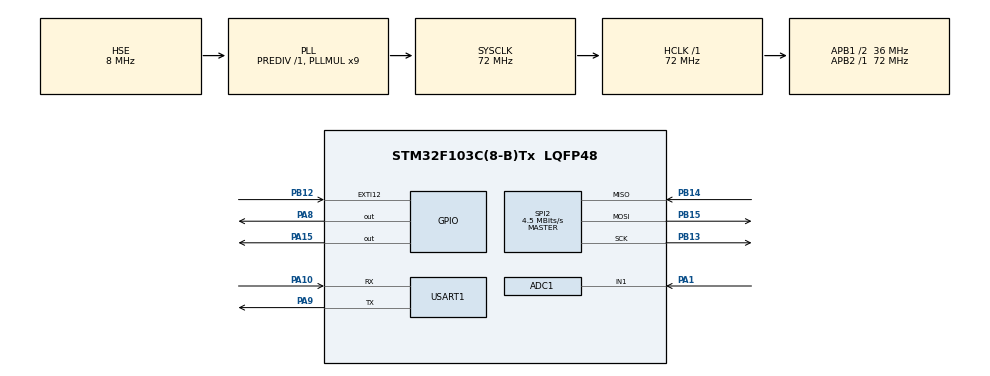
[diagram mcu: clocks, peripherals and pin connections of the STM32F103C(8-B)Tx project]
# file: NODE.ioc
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ADC1.Channel-0\#ChannelRegularConversion=ADC_CHANNEL_1
ADC1.NbrOfConversionFlag=1
ADC1.Rank-0\#ChannelRegularConversion=1
ADC1.SamplingTime-0\#ChannelRegularConversion=ADC_SAMPLETIME_1CYCLE_5
ADC1.master=1
FREERTOS.Tasks01=defaultTask,0,128,StartDefaultTask,Default,NULL,Dynamic,NULL,NULL
FREERTOS.configUSE_TIMERS=1
Mcu.Family=STM32F1
Mcu.Name=STM32F103C(8-B)Tx
Mcu.Package=LQFP48
NVIC.EXTI15_10_IRQn=true\:5\:0\:false\:false\:true\:true\:true\:true
NVIC.PriorityGroup=NVIC_PRIORITYGROUP_4
NVIC.TIM1_UP_IRQn=true\:15\:0\:false\:false\:true\:false\:false\:true
NVIC.TimeBase=TIM1_UP_IRQn
NVIC.TimeBaseIP=TIM1
PA1.Signal=ADCx_IN1
PA10.Mode=Asynchronous
PA10.Signal=USART1_RX
PA13.Mode=Serial_Wire
PA13.Signal=SYS_JTMS-SWDIO
PA14.Mode=Serial_Wire
PA14.Signal=SYS_JTCK-SWCLK
PA15.PinState=GPIO_PIN_SET
PA15.Signal=GPIO_Output
PA8.Signal=GPIO_Output
PA9.Mode=Asynchronous
PA9.Signal=USART1_TX
PB12.GPIO_ModeDefaultEXTI=GPIO_MODE_IT_RISING
PB12.GPIO_PuPd=GPIO_NOPULL
PB12.Signal=GPXTI12
PB13.Mode=Full_Duplex_Master
PB13.Signal=SPI2_SCK
PB14.Mode=Full_Duplex_Master
PB14.Signal=SPI2_MISO
PB15.Mode=Full_Duplex_Master
PB15.Signal=SPI2_MOSI
PD0-OSC_IN.Mode=HSE-External-Oscillator
PD0-OSC_IN.Signal=RCC_OSC_IN
PD1-OSC_OUT.Mode=HSE-External-Oscillator
PD1-OSC_OUT.Signal=RCC_OSC_OUT
ProjectManager.HeapSize=0x200
ProjectManager.StackSize=0x400
ProjectManager.TargetToolchain=STM32CubeIDE
RCC.ADCPresc=RCC_ADCPCLK2_DIV6
RCC.AHBFreq_Value=72000000
RCC.APB1CLKDivider=RCC_HCLK_DIV2
RCC.APB1Freq_Value=36000000
RCC.APB1TimFreq_Value=72000000
RCC.APB2Freq_Value=72000000
RCC.APB2TimFreq_Value=72000000
RCC.HCLKFreq_Value=72000000
RCC.PLLMUL=RCC_PLL_MUL9
RCC.PLLSourceVirtual=RCC_PLLSOURCE_HSE
RCC.SYSCLKFreq_VALUE=72000000
RCC.SYSCLKSource=RCC_SYSCLKSOURCE_PLLCLK
RCC.USBFreq_Value=72000000
SH.ADCx_IN1.0=ADC1_IN1,IN1
SPI2.BaudRatePrescaler=SPI_BAUDRATEPRESCALER_8
SPI2.CalculateBaudRate=4.5 MBits/s
SPI2.Direction=SPI_DIRECTION_2LINES
SPI2.Mode=SPI_MODE_MASTER
SPI2.VirtualType=VM_MASTER
USART1.VirtualMode=VM_ASYNC
VP_FREERTOS_VS_CMSIS_V1.Mode=CMSIS_V1
VP_SYS_VS_tim1.Mode=TIM1
board=custom

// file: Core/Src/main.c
/* USER CODE BEGIN Header */
/**
  ******************************************************************************
  * @file           : main.c
  * @brief          : Main program body
  ******************************************************************************
  * @attention
  *
  * <h2><center>&copy; Copyright (c) 2023 STMicroelectronics.
  * All rights reserved.</center></h2>
  *
  * This software component is licensed by ST under Ultimate Liberty license
  * SLA0044, the "License"; You may not use this file except in compliance with
  * the License. You may obtain a copy of the License at:
  *                             www.st.com/SLA0044
  *
  ******************************************************************************
  */
/* USER CODE END Header */
#include "main.h"
#include "cmsis_os.h"
#include "adc.h"
#include "spi.h"
#include "usart.h"
#include "gpio.h"

/* USER CODE BEGIN Includes */
#include <stdio.h>
#include <stdint.h>
#include <string.h>
#include <stdlib.h>
#include <math.h>
#include <stdbool.h>
#include <time.h>
#include "sx1278.h"
#include "common.h"
/* USER CODE END Includes */

void SystemClock_Config(void);
void MX_FREERTOS_Init(void);

/* USER CODE BEGIN 0 */
static const char *TAG = "MAIN";
sx1278_node_t sx1278_node;
/* USER CODE END 0 */

int main(void)
{

  /* MCU Configuration--------------------------------------------------------*/

  /* Reset of all peripherals, Initializes the Flash interface and the Systick. */
  HAL_Init();

  /* Configure the system clock */
  SystemClock_Config();

  /* Initialize all configured peripherals */
  MX_GPIO_Init();
  MX_ADC1_Init();
  MX_SPI2_Init();
  MX_USART1_UART_Init();
  /* USER CODE BEGIN 2 */
//  sx1278_node.node_id = get_random_value(1, 99);
  sx1278_node.node_id = 6;
  char data_log[20];
  sprintf(data_log, "node_id: %d", sx1278_node.node_id);
  LOG(TAG, data_log);
  /* USER CODE END 2 */

  /* Call init function for freertos objects (in freertos.c) */
  MX_FREERTOS_Init();
  /* Start scheduler */
  osKernelStart();

  /* We should never get here as control is now taken by the scheduler */
  /* Infinite loop */
  while (1)
  {

  }
}

void SystemClock_Config(void)
{
  RCC_OscInitTypeDef RCC_OscInitStruct = {0};
  RCC_ClkInitTypeDef RCC_ClkInitStruct = {0};
  RCC_PeriphCLKInitTypeDef PeriphClkInit = {0};

  /** Initializes the RCC Oscillators according to the specified parameters
  * in the RCC_OscInitTypeDef structure.
  */
  RCC_OscInitStruct.OscillatorType = RCC_OSCILLATORTYPE_HSE;
  RCC_OscInitStruct.HSEState = RCC_HSE_ON;
  RCC_OscInitStruct.HSEPredivValue = RCC_HSE_PREDIV_DIV1;
  RCC_OscInitStruct.HSIState = RCC_HSI_ON;
  RCC_OscInitStruct.PLL.PLLState = RCC_PLL_ON;
  RCC_OscInitStruct.PLL.PLLSource = RCC_PLLSOURCE_HSE;
  RCC_OscInitStruct.PLL.PLLMUL = RCC_PLL_MUL9;
  if (HAL_RCC_OscConfig(&RCC_OscInitStruct) != HAL_OK)
  {
    Error_Handler();
  }
  /** Initializes the CPU, AHB and APB buses clocks
  */
  RCC_ClkInitStruct.ClockType = RCC_CLOCKTYPE_HCLK|RCC_CLOCKTYPE_SYSCLK
                              |RCC_CLOCKTYPE_PCLK1|RCC_CLOCKTYPE_PCLK2;
  RCC_ClkInitStruct.SYSCLKSource = RCC_SYSCLKSOURCE_PLLCLK;
  RCC_ClkInitStruct.AHBCLKDivider = RCC_SYSCLK_DIV1;
  RCC_ClkInitStruct.APB1CLKDivider = RCC_HCLK_DIV2;
  RCC_ClkInitStruct.APB2CLKDivider = RCC_HCLK_DIV1;

  if (HAL_RCC_ClockConfig(&RCC_ClkInitStruct, FLASH_LATENCY_2) != HAL_OK)
  {
    Error_Handler();
  }
  PeriphClkInit.PeriphClockSelection = RCC_PERIPHCLK_ADC;
  PeriphClkInit.AdcClockSelection = RCC_ADCPCLK2_DIV6;
  if (HAL_RCCEx_PeriphCLKConfig(&PeriphClkInit) != HAL_OK)
  {
    Error_Handler();
  }
}

void HAL_TIM_PeriodElapsedCallback(TIM_HandleTypeDef *htim)
{
  if (htim->Instance == TIM1) {
    HAL_IncTick();
  }
}

void Error_Handler(void)
{
  __disable_irq();
  while (1)
  {
  }
}

/************************ (C) COPYRIGHT STMicroelectronics *****END OF FILE****/

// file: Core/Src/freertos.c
/* USER CODE BEGIN Header */
/**
  ******************************************************************************
  * File Name          : freertos.c
  * Description        : Code for freertos applications
  ******************************************************************************
  * @attention
  *
  * <h2><center>&copy; Copyright (c) 2023 STMicroelectronics.
  * All rights reserved.</center></h2>
  *
  * This software component is licensed by ST under Ultimate Liberty license
  * SLA0044, the "License"; You may not use this file except in compliance with
  * the License. You may obtain a copy of the License at:
  *                             www.st.com/SLA0044
  *
  ******************************************************************************
  */
/* USER CODE END Header */

#include "FreeRTOS.h"
#include "task.h"
#include "main.h"
#include "cmsis_os.h"

/* USER CODE BEGIN Includes */
#include <stdio.h>
#include <stdint.h>
#include <string.h>
#include <stdlib.h>
#include <math.h>
#include <stdbool.h>
#include <time.h>
#include "sx1278.h"
#include "common.h"
#include "timers.h"
#include "event_groups.h"
/* USER CODE END Includes */

/* USER CODE BEGIN Variables */
static const char *TAG = "FREERTOS";
EventGroupHandle_t sx1278_evt_group;
extern sx1278_node_t sx1278_node;
/* USER CODE END Variables */
osThreadId defaultTaskHandle;

/* USER CODE BEGIN FunctionPrototypes */

void HAL_GPIO_EXTI_Callback(uint16_t GPIO_Pin)
{
	BaseType_t xHigherPriorityTaskWoken = pdFALSE;
//	if(GPIO_Pin == GPIO_PIN_6)
//	{
//		xEventGroupSetBitsFromISR(sx1278_evt_group, SX1278_DIO4_BIT, &xHigherPriorityTaskWoken);
//	}
//	else if(GPIO_Pin == GPIO_PIN_7)
//	{
//		xEventGroupSetBitsFromISR(sx1278_evt_group, SX1278_DIO3_BIT, &xHigherPriorityTaskWoken);
//	}
	if(GPIO_Pin == GPIO_PIN_12)
	{
		xEventGroupSetBitsFromISR(sx1278_evt_group, SX1278_DIO0_BIT, &xHigherPriorityTaskWoken);
	}
}

void sx1278_task(void *param)
{
    uint8_t data_send[128] = {0};
    uint8_t data_recv[128] = {0};
    float snr;
    int rssi;
    EventBits_t evt_bits;
//    sx1278_packet_t packet;
    sx1278_init();
	sx1278_evt_group = xEventGroupCreate();
	float temp_test = 16.8;
	float battery_test = 3.58;
	while(1)
	{
//	    int irq = sx1278_read_reg(REG_IRQ_FLAGS);
//	    sx1278_write_reg(REG_IRQ_FLAGS, irq);
//		xEventGroupClearBits(sx1278_evt_group, SX1278_DIO0_BIT);
		sx1278_start_recv_data();
		evt_bits = xEventGroupWaitBits(sx1278_evt_group, SX1278_DIO0_BIT, pdTRUE, pdFALSE, portMAX_DELAY);
		if(evt_bits & SX1278_DIO0_BIT)
		{
			if(sx1278_recv_data(data_recv, &rssi, &snr, &sx1278_node) == SX1278_OK)
			{
				char data_log[100];
				char snr_arr[10];
				ftoa((double)snr, snr_arr, 2);
				sprintf(data_log, "Packet rssi: %d, snr: %s", rssi, snr_arr);
				LOG(TAG, data_log);
				ftoa((double)temp_test, sx1278_node.temp, 1);
				ftoa((double)battery_test, sx1278_node.battery, 2);
				listen_before_talk();
				send_respond(UPLINK_TX_RESPOND_OPCODE, sx1278_node, data_send);
			}
			else
			{

			}
		}
	}
}

void peripheral_task(void *param)
{
	while(1)
	{
		vTaskDelay(100 / portTICK_RATE_MS);
	}
}
/* USER CODE END FunctionPrototypes */

void StartDefaultTask(void const * argument);

void MX_FREERTOS_Init(void); /* (MISRA C 2004 rule 8.1) */

/* GetIdleTaskMemory prototype (linked to static allocation support) */
void vApplicationGetIdleTaskMemory( StaticTask_t **ppxIdleTaskTCBBuffer, StackType_t **ppxIdleTaskStackBuffer, uint32_t *pulIdleTaskStackSize );

/* GetTimerTaskMemory prototype (linked to static allocation support) */
void vApplicationGetTimerTaskMemory( StaticTask_t **ppxTimerTaskTCBBuffer, StackType_t **ppxTimerTaskStackBuffer, uint32_t *pulTimerTaskStackSize );

/* USER CODE BEGIN GET_IDLE_TASK_MEMORY */
static StaticTask_t xIdleTaskTCBBuffer;
static StackType_t xIdleStack[configMINIMAL_STACK_SIZE];

void vApplicationGetIdleTaskMemory( StaticTask_t **ppxIdleTaskTCBBuffer, StackType_t **ppxIdleTaskStackBuffer, uint32_t *pulIdleTaskStackSize )
{
  *ppxIdleTaskTCBBuffer = &xIdleTaskTCBBuffer;
  *ppxIdleTaskStackBuffer = &xIdleStack[0];
  *pulIdleTaskStackSize = configMINIMAL_STACK_SIZE;
  /* place for user code */
}
/* USER CODE END GET_IDLE_TASK_MEMORY */

/* USER CODE BEGIN GET_TIMER_TASK_MEMORY */
static StaticTask_t xTimerTaskTCBBuffer;
static StackType_t xTimerStack[configTIMER_TASK_STACK_DEPTH];

void vApplicationGetTimerTaskMemory( StaticTask_t **ppxTimerTaskTCBBuffer, StackType_t **ppxTimerTaskStackBuffer, uint32_t *pulTimerTaskStackSize )
{
  *ppxTimerTaskTCBBuffer = &xTimerTaskTCBBuffer;
  *ppxTimerTaskStackBuffer = &xTimerStack[0];
  *pulTimerTaskStackSize = configTIMER_TASK_STACK_DEPTH;
  /* place for user code */
}
/* USER CODE END GET_TIMER_TASK_MEMORY */

void MX_FREERTOS_Init(void) {

  /* Create the thread(s) */
  /* definition and creation of defaultTask */
//  osThreadDef(defaultTask, StartDefaultTask, osPriorityNormal, 0, 128);
//  defaultTaskHandle = osThreadCreate(osThread(defaultTask), NULL);

  /* USER CODE BEGIN RTOS_THREADS */
  /* add threads, ... */
	xTaskCreate(&sx1278_task, "SX1278", 512, NULL, 10, NULL);
	xTaskCreate(&peripheral_task, "PERIPHERAL", 512, NULL, 9, NULL);
  /* USER CODE END RTOS_THREADS */

}

void StartDefaultTask(void const * argument)
{
  for(;;)
  {
    osDelay(1);
  }
}

/************************ (C) COPYRIGHT STMicroelectronics *****END OF FILE****/
